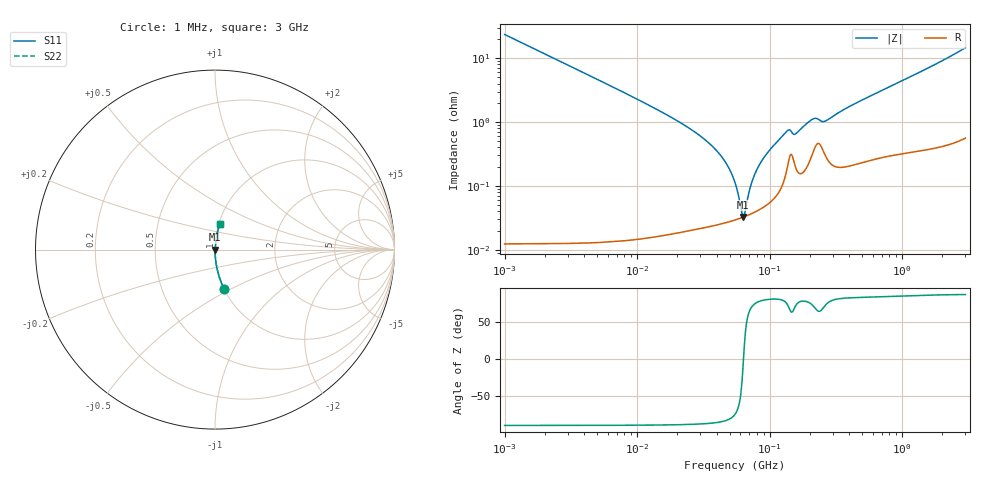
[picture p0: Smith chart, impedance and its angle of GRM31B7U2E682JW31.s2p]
!Murata Part Number: GRM31B7U2E682JW31
!These Parameters are Measured in Series Mode Connection
!Data Generated on Mar 30, 2021
!  o--ll--o
!Port1  Port2
!  o------o
!Operation Temp=25[degC], DC Bias Voltage=0[V]
!Freq. Start=1000[kHz] Stop=3[GHz] 401[Steps]
# Hz S RI R 50
!Freq.(Hz) S11(Real) S11(Imag) S21(Real) S21(Imag) S12(Real) S12(Imag) S22(Real) S22(Imag)
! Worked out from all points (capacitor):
!   401 points, 1 MHz to 3 GHz, reference 50 ohm
!   read as one part in series: C = 6.81 nF near 1.041 MHz
!   lowest |Z| = 32.9 mohm at 63.01 MHz (marker M1)
!   series resonance near 63.46 MHz, so ESL is about 920 pH
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1000000  0.0519 -0.2216  0.9481 0.2216  0.9481 0.2216  0.0519 -0.2216
3823119  0.00383 -0.0607  0.9962 0.0607  0.9962 0.0607  0.00383 -0.0607
1.461624e7  0.000392 -0.0151  0.9996 0.0151  0.9996 0.0151  0.000392 -0.0151
2.559966e7  0.00026 -0.00762  0.9997 0.00762  0.9997 0.00762  0.00026 -0.00762
3.670325e7  0.000254 -0.00423  0.9997 0.00423  0.9997 0.00423  0.000254 -0.00423
4.666789e7  0.000272 -0.0023  0.9997 0.0023  0.9997 0.0023  0.000272 -0.0023
5.055794e7  0.000282 -0.00169  0.9997 0.00169  0.9997 0.00169  0.000282 -0.00169
5.477226e7  0.000295 -0.00109  0.9997 0.00109  0.9997 0.00109  0.000295 -0.00109
6.053752e7  0.000315 -0.000348  0.9997 0.000348  0.9997 0.000348  0.000315 -0.000348
6.301011e7  0.000325 -5.22e-05  0.9997 5.22e-05  0.9997 5.22e-05  0.000325 -5.22e-05
6.558369e7  0.000335 0.000245  0.9997 -0.000245  0.9997 -0.000245  0.000335 0.000245
7.105049e7  0.00036 0.000842  0.9996 -0.000842  0.9996 -0.000842  0.00036 0.000842
7.697298e7  0.000391 0.00145  0.9996 -0.00145  0.9996 -0.00145  0.000391 0.00145
8.338914e7  0.000428 0.00207  0.9996 -0.00207  0.9996 -0.00207  0.000428 0.00207
9.402997e7  0.000505 0.00306  0.9995 -0.00306  0.9995 -0.00306  0.000505 0.00306
1.348146e8  0.00185 0.00692  0.9982 -0.00692  0.9982 -0.00692  0.00185 0.00692
1.582265e8  0.0019 0.00631  0.9981 -0.00631  0.9981 -0.00631  0.0019 0.00631
2.094008e8  0.00319 0.0105  0.9968 -0.0105  0.9968 -0.0105  0.00319 0.0105
2.662515e8  0.00294 0.01  0.9971 -0.01  0.9971 -0.01  0.00294 0.01
3.973271e8  0.00233 0.0172  0.9977 -0.0172  0.9977 -0.0172  0.00233 0.0172
8.005644e8  0.00416 0.035  0.9958 -0.035  0.9958 -0.035  0.00416 0.035
3e9  0.0257 0.1402  0.9743 -0.1402  0.9743 -0.1402  0.0257 0.1402
